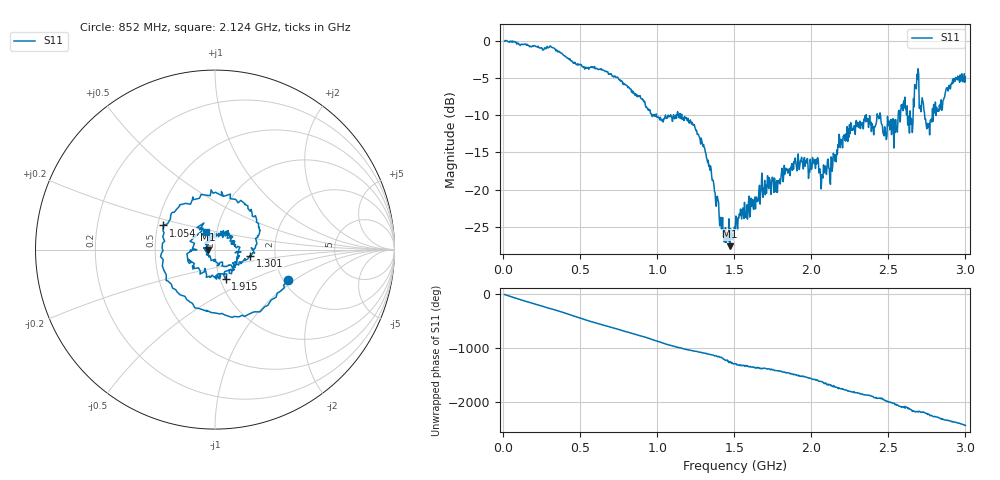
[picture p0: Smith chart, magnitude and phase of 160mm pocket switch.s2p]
! PocketVna 1.60  pocketvna.com
! Live measurements ((Reflection-S11) Linear 10000000-3000000000/800 calibrated)
# Hz S RI R 50
! Hz  ReS11  ImS11  ReS21  ImS21  ReS12  ImS12  ReS22  ImS22
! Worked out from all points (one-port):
!   800 points, 10 MHz to 3 GHz, reference 50 ohm
!   lowest |S11| = -27.6 dB at 1.473 GHz (marker M1), VSWR 1.09, Z = 46 - j0.0564 ohm
!   |S11| at or under -10 dB: 1.16 GHz to 2.356 GHz (1.197 GHz wide, 68.1 % of centre); 2.357 GHz to 2.427 GHz (70.12 MHz wide, 2.93 % of centre); 2.448 GHz to 2.564 GHz (115.8 MHz wide, 4.62 % of centre)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
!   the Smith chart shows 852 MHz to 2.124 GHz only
!   S11 on the Smith chart (normalised r, x): 852 MHz: 2.11, -0.90; 1.054 GHz: 0.54, +0.16; 1.301 GHz: 1.49, -0.11; 1.915 GHz: 1.06, -0.36; 2.124 GHz: 0.89, +0.18
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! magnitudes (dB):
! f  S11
! 10 MHz  -0.1
! 511.5 MHz  -3.4
! 852 MHz  -7.1
! 1.009 GHz  -10.3
! 1.054 GHz  -10.0
! 1.193 GHz  -10.6
! 1.301 GHz  -13.9
! 1.421 GHz  -24.8
! 1.473 GHz  -27.6
! 1.507 GHz  -25.4
! 1.69 GHz  -19.8
! 1.915 GHz  -15.2
! 2.005 GHz  -17.1
! 2.124 GHz  -19.3
! 2.263 GHz  -12.0
! 2.502 GHz  -11.4
! 2.6 GHz  -8.1
! 2.644 GHz  -11.2
! 2.682 GHz  -6.5
! 2.761 GHz  -11.4
! 2.921 GHz  -5.7
! 3 GHz  -4.8
